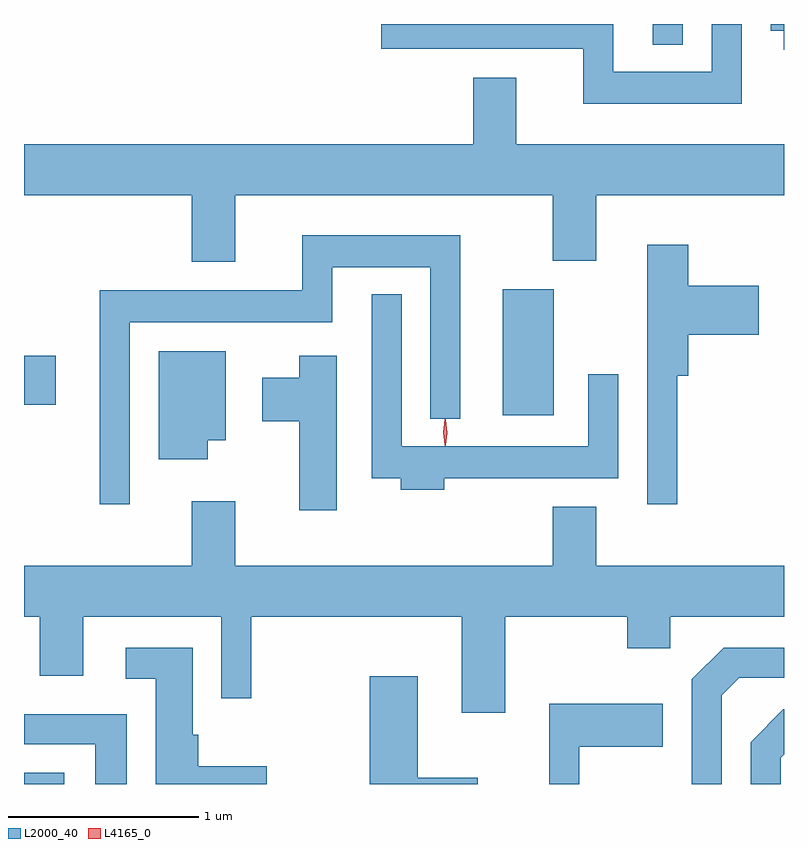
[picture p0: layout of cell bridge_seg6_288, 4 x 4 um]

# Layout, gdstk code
import gdstk
lib = gdstk.Library(unit=1e-6, precision=1e-09)
def R(c, l, rs):  # rectangles x0, y0, x1, y1
    for r in rs: c.add(gdstk.rectangle(r[:2], r[2:], *l))
def P(c, l, *ps):  # polygons
    for p in ps: c.add(gdstk.Polygon(p, *l))
L2000_40 = (2000, 40)
L4165_0 = (4165, 0)

bridge_seg6_288 = lib.new_cell('bridge_seg6_288')
R(bridge_seg6_288, L2000_40, [(1257.987,1542.496,1258.199,1542.554), (1260.506,1544.436,1260.774,1545.099), (1257.987,1544.491,1258.154,1544.749), (1261.296,1546.388,1261.454,1546.496)])
P(bridge_seg6_288, L2000_40, [(1261.764,1546.496),(1261.606,1546.496),(1261.606,1546.244),(1261.089,1546.244),(1261.089,1546.496),(1259.866,1546.496),(1259.866,1546.366),(1260.931,1546.366),(1260.931,1546.076),(1261.764,1546.076)],
  [(1261.987,1546.496),(1261.916,1546.496),(1261.916,1546.461),(1261.986,1546.461),(1261.986,1546.361),(1261.987,1546.361)],
  [(1259.099,1545.596),(1260.771,1545.596),(1260.771,1545.251),(1260.999,1545.251),(1260.999,1545.596),(1261.987,1545.596),(1261.987,1545.864),(1260.579,1545.864),(1260.579,1546.214),(1260.351,1546.214),(1260.351,1545.864),(1257.987,1545.864),(1257.987,1545.596),(1258.871,1545.596),(1258.871,1545.246),(1259.099,1545.246)],
  [(1258.544,1544.926),(1259.609,1544.926),(1259.609,1545.216),(1260.126,1545.216),(1260.126,1544.418),(1260.284,1544.418),(1260.284,1545.384),(1259.451,1545.384),(1259.451,1545.094),(1258.386,1545.094),(1258.386,1543.968),(1258.544,1543.968)],
  [(1261.424,1544.646),(1261.484,1544.646),(1261.484,1544.861),(1261.854,1544.861),(1261.854,1545.119),(1261.484,1545.119),(1261.484,1545.334),(1261.266,1545.334),(1261.266,1543.968),(1261.424,1543.968)],
  [(1260.199,1544.106),(1261.114,1544.106),(1261.114,1544.653),(1260.956,1544.653),(1260.956,1544.274),(1259.974,1544.274),(1259.974,1545.073),(1259.816,1545.073),(1259.816,1544.106),(1259.971,1544.106),(1259.971,1544.046),(1260.199,1544.046)],
  [(1258.954,1544.306),(1259.049,1544.306),(1259.049,1544.774),(1258.696,1544.774),(1258.696,1544.206),(1258.954,1544.206)],
  [(1259.634,1544.749),(1259.436,1544.749),(1259.436,1544.634),(1259.241,1544.634),(1259.241,1544.406),(1259.436,1544.406),(1259.436,1543.936),(1259.634,1543.936)],
  [(1259.099,1543.984),(1258.871,1543.984),(1258.871,1543.644),(1257.987,1543.644),(1257.987,1543.376),(1258.071,1543.376),(1258.071,1543.066),(1258.299,1543.066),(1258.299,1543.376),(1259.026,1543.376),(1259.026,1542.948),(1259.184,1542.948),(1259.184,1543.376),(1260.291,1543.376),(1260.291,1542.871),(1260.519,1542.871),(1260.519,1543.376),(1261.161,1543.376),(1261.161,1543.211),(1261.389,1543.211),(1261.389,1543.376),(1261.987,1543.376),(1261.987,1543.644),(1260.999,1543.644),(1260.999,1543.954),(1260.771,1543.954),(1260.771,1543.644),(1259.099,1543.644)],
  [(1259.264,1542.589),(1258.904,1542.589),(1258.904,1542.754),(1258.874,1542.754),(1258.874,1543.214),(1258.523,1543.214),(1258.523,1543.051),(1258.681,1543.051),(1258.681,1542.496),(1259.264,1542.496)],
  [(1261.659,1542.964),(1261.752,1543.056),(1261.987,1543.056),(1261.987,1543.214),(1261.669,1543.214),(1261.501,1543.047),(1261.501,1542.496),(1261.659,1542.496)],
  [(1260.374,1542.529),(1260.059,1542.529),(1260.059,1543.064),(1259.806,1543.064),(1259.806,1542.496),(1260.374,1542.496)],
  [(1260.909,1542.691),(1261.349,1542.691),(1261.349,1542.919),(1260.751,1542.919),(1260.751,1542.496),(1260.909,1542.496)],
  [(1261.969,1542.634),(1261.987,1542.652),(1261.987,1542.889),(1261.984,1542.889),(1261.811,1542.717),(1261.811,1542.496),(1261.969,1542.496)],
  [(1258.529,1542.864),(1257.987,1542.864),(1257.987,1542.706),(1258.361,1542.706),(1258.361,1542.496),(1258.529,1542.496)])
P(bridge_seg6_288, L4165_0, [(1260.203,1544.277),(1260.202,1544.278),(1260.193,1544.347),(1260.202,1544.416),(1260.203,1544.416),(1260.204,1544.416),(1260.213,1544.347),(1260.204,1544.278)],
  [(1260.205,1544.28),(1260.196,1544.346),(1260.205,1544.412),(1260.206,1544.413),(1260.206,1544.412),(1260.215,1544.346),(1260.206,1544.28),(1260.206,1544.28)])

lib.write_gds('bridge_seg6_288.gds')
